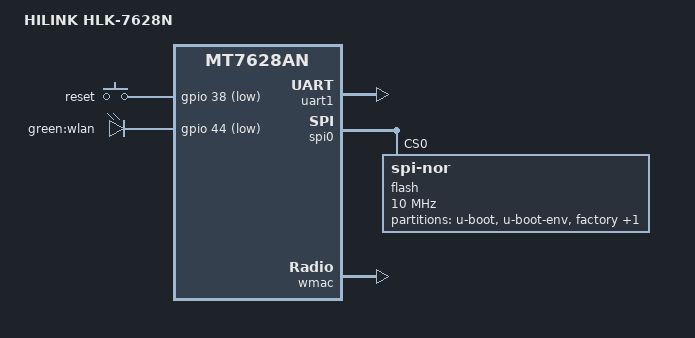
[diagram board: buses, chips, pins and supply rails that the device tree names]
// SPDX-License-Identifier: GPL-2.0-or-later OR MIT

#include "mt7628an.dtsi"

#include <dt-bindings/gpio/gpio.h>
#include <dt-bindings/input/input.h>

/ {
	compatible = "hilink,hlk-7628n", "mediatek,mt7628an-soc";
	model = "HILINK HLK-7628N";

	keys {
		compatible = "gpio-keys";

		reset {
			label = "reset";
			gpios = <&gpio 38 GPIO_ACTIVE_LOW>;
			linux,code = <KEY_RESTART>;
		};
	};

	leds {
		compatible = "gpio-leds";

		wlan {
			label = "green:wlan";
			gpios = <&gpio 44 GPIO_ACTIVE_LOW>;
		};
	};
};

&state_default {
	gpio {
		groups = "i2c";
		function = "gpio";
	};
};

&uart1 {
	status = "okay";
};

&spi0 {
	status = "okay";

	flash@0 {
		compatible = "jedec,spi-nor";
		reg = <0>;
		spi-max-frequency = <10000000>;

		partitions {
			compatible = "fixed-partitions";
			#address-cells = <1>;
			#size-cells = <1>;

			partition@0 {
				label = "u-boot";
				reg = <0x0 0x30000>;
				read-only;
			};

			partition@30000 {
				label = "u-boot-env";
				reg = <0x30000 0x10000>;
				read-only;
			};

			factory: partition@40000 {
				label = "factory";
				reg = <0x40000 0x10000>;
				read-only;
			};

			partition@50000 {
				compatible = "denx,uimage";
				label = "firmware";
				reg = <0x50000 0x1fb0000>;
			};
		};
	};
};

&ethernet {
	mtd-mac-address = <&factory 0x28>;
};

&wmac {
	status = "okay";
};
